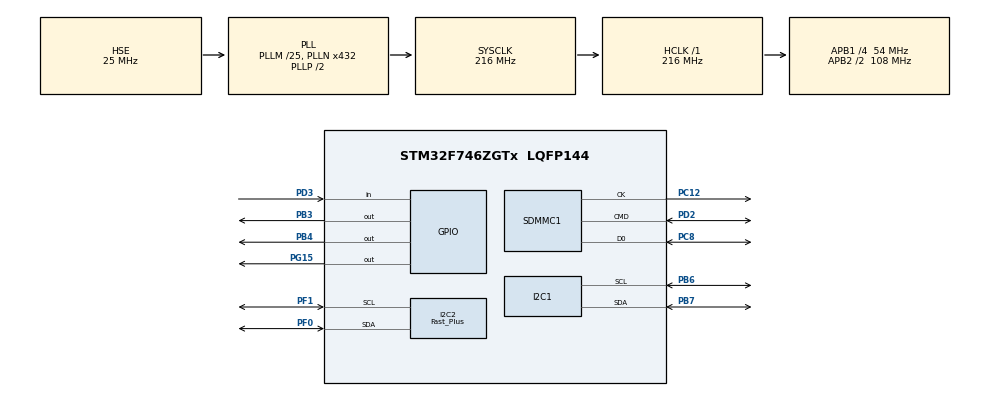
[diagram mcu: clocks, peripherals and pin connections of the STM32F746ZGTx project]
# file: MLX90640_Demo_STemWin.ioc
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CORTEX_M7.ART_ACCLERATOR_ENABLE=0
CORTEX_M7.CPU_DCache=Enabled
CORTEX_M7.CPU_ICache=Enabled
CORTEX_M7.PREFETCH_ENABLE=1
I2C1.Timing=0x20404768
I2C2.Analog_Filter=I2C_ANALOGFILTER_DISABLE
I2C2.I2C_Speed_Mode=I2C_Fast_Plus
I2C2.Timing=0x00200E22
Mcu.Family=STM32F7
Mcu.Name=STM32F746ZGTx
Mcu.Package=LQFP144
NVIC.PriorityGroup=NVIC_PRIORITYGROUP_4
NVIC.TIM3_IRQn=true\:0\:0\:false\:false\:true\:true\:true
PB3.Signal=GPIO_Output
PB4.Signal=GPIO_Output
PB6.Mode=I2C
PB6.Signal=I2C1_SCL
PB7.Mode=I2C
PB7.Signal=I2C1_SDA
PC12.Mode=SD_1_bit
PC12.Signal=SDMMC1_CK
PC8.Mode=SD_1_bit
PC8.Signal=SDMMC1_D0
PD2.Mode=SD_1_bit
PD2.Signal=SDMMC1_CMD
PD3.Signal=GPIO_Input
PF0.Mode=I2C
PF0.Signal=I2C2_SDA
PF1.Mode=I2C
PF1.Signal=I2C2_SCL
PG15.Signal=GPIO_Output
PH0/OSC_IN.Mode=HSE-External-Oscillator
PH0/OSC_IN.Signal=RCC_OSC_IN
PH1/OSC_OUT.Mode=HSE-External-Oscillator
PH1/OSC_OUT.Signal=RCC_OSC_OUT
ProjectManager.HeapSize=0x200
ProjectManager.StackSize=0x400
ProjectManager.TargetToolchain=STM32CubeIDE
RCC.AHBFreq_Value=216000000
RCC.APB1CLKDivider=RCC_HCLK_DIV4
RCC.APB1Freq_Value=54000000
RCC.APB1TimFreq_Value=108000000
RCC.APB2CLKDivider=RCC_HCLK_DIV2
RCC.APB2Freq_Value=108000000
RCC.APB2TimFreq_Value=216000000
RCC.CortexFreq_Value=216000000
RCC.HCLKFreq_Value=216000000
RCC.HSE_VALUE=25000000
RCC.HSI_VALUE=16000000
RCC.LSE_VALUE=32768
RCC.PLLM=25
RCC.PLLN=432
RCC.PLLQ=9
RCC.PLLSourceVirtual=RCC_PLLSOURCE_HSE
RCC.SDMMCClockSelection=RCC_SDMMC1CLKSOURCE_CLK48
RCC.SYSCLKFreq_VALUE=216000000
RCC.SYSCLKSource=RCC_SYSCLKSOURCE_PLLCLK
RCC.USBFreq_Value=48000000
RCC.VCOOutputFreq_Value=432000000
TIM3.AutoReloadPreload=TIM_AUTORELOAD_PRELOAD_ENABLE
TIM3.ClockDivision=TIM_CLOCKDIVISION_DIV4
TIM3.Period=1000
TIM3.Prescaler=27
VP_FATFS_VS_SDIO.Mode=SDIO
VP_TIM3_VS_ClockSourceINT.Mode=Internal
board=custom

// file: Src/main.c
/* USER CODE BEGIN Header */
/**
  ******************************************************************************
  * @file           : main.c
  * @brief          : Main program body
  ******************************************************************************
  * @attention
  *
  * <h2><center>&copy; Copyright (c) 2021 STMicroelectronics.
  * All rights reserved.</center></h2>
  *
  * This software component is licensed by ST under Ultimate Liberty license
  * SLA0044, the "License"; You may not use this file except in compliance with
  * the License. You may obtain a copy of the License at:
  *                             www.st.com/SLA0044
  *
  ******************************************************************************
  */
/* USER CODE END Header */

#include "main.h"
#include "fatfs.h"

/* USER CODE BEGIN Includes */
#include <string.h>
#include <stdio.h>
#include <stdint.h>
#include <stdbool.h>
//STemWin
#include "WM.h"
#include "GUI.h"
//Hardware
#include "SSD1963.h"
#include "STMPE610.h"
#include "MLX90640.h"

//Middleware
#include "MLX90640_API.h"
#include "bmp.h"
#include "img.h"
//Windows
#include "MainWindowDLG.h"
#include "SettingsDLG.h"
/* USER CODE END Includes */

I2C_HandleTypeDef hi2c1;
I2C_HandleTypeDef hi2c2;

SD_HandleTypeDef hsd1;

TIM_HandleTypeDef htim3;

/* USER CODE BEGIN PV */
#define MAIN 0
#define RUN_SETTINGS 1
#define SETTINGS 2
#define CANCEL 3
#define SAVE 4

#define TA_SHIFT 8
float mlx90640To[768];
uint16_t eeMLX90640[832];
paramsMLX90640 mlx90640;
uint16_t mlx90640Frame[834];
int status=0;

int keyPressed = 0;		// variable for ID of touched element
uint8_t menu=MAIN;
char value[5];
int val=0;

WM_HWIN hWin;
WM_HWIN hWin1;

FATFS myFAT;
FIL myFile;
FRESULT res;

UINT byteCount;

uint8_t capture=0;
/* Private variables ---------------------------------------------------------*/
/* USER CODE END PV */

void SystemClock_Config(void);
static void MX_GPIO_Init(void);
static void MX_I2C1_Init(void);
static void MX_SDMMC1_SD_Init(void);
static void MX_TIM3_Init(void);
static void MX_I2C2_Init(void);
/* USER CODE BEGIN PFP */
/* Private function prototypes -----------------------------------------------*/

extern volatile GUI_TIMER_TIME OS_TimeMS;
void HAL_SYSTICK_Callback(void)
{
	OS_TimeMS++;
}

/* USER CODE END PFP */

int main(void)
{

  /* Enable I-Cache---------------------------------------------------------*/
  SCB_EnableICache();

  /* Enable D-Cache---------------------------------------------------------*/
  SCB_EnableDCache();

  /* MCU Configuration--------------------------------------------------------*/

  /* Reset of all peripherals, Initializes the Flash interface and the Systick. */
  HAL_Init();

  /* Configure the system clock */
  SystemClock_Config();

  /* Initialize all configured peripherals */
  MX_GPIO_Init();
  MX_I2C1_Init();
  MX_SDMMC1_SD_Init();
  MX_FATFS_Init();
  MX_TIM3_Init();
  MX_I2C2_Init();
  /* USER CODE BEGIN 2 */

  //init GPIO
  Init_LCD_GPIO();
  Init_TOUCH_GPIO(hi2c1);
  Init_MLX90640_GPIO(hi2c2);

  hi2c2.Init.Timing = 0x00501E63; //FM !!! must be change if clk is changed
  HAL_I2C_Init(&hi2c2);

  MLX90640_SetRefreshRate(MLX90640_RATE_8HZ);
  MLX90640_SetResolution(MLX90640_RES16);
  MLX90640_SetPattern(MLX90640_CHESS);
  MLX90640_SetMode(MLX90640_DEFAULT);

  MLX90640_DumpEE(eeMLX90640);
  status = MLX90640_ExtractParameters(eeMLX90640, &mlx90640);

  HAL_Delay(10);

  //init GUI
  WM_SetCreateFlags(WM_CF_MEMDEV);
  GUI_Init();
  GUI_Clear();

  hWin = CreateMainWindow();
  invalidateLegend(hWin); //triggers legend drawing

  GUI_Exec(); //draw base screen

  hi2c2.Init.Timing = 0x00200E22; //FM+ !!! must be change if clk is changed
  HAL_I2C_Init(&hi2c2);
  HAL_Delay(10);

  //UNLINK PATH
  FATFS_UnLinkDriver(SDPath);
  HAL_Delay(10);

  HAL_TIM_Base_Start_IT(&htim3);
  /* USER CODE END 2 */

  /* Infinite loop */
  /* USER CODE BEGIN WHILE */

  while (1)
  {
	  STMPE610_read_xyz();

	  switch(menu)
	  {
			  case MAIN:
				  status = MLX90640_GetFrameData(mlx90640Frame);

				  float Ta = MLX90640_GetTa(mlx90640Frame, &mlx90640);
				  float tr = Ta - TA_SHIFT; //Reflected temperature based on the sensor ambient temperature
				  float emissivity = 0.95;
				  MLX90640_CalculateTo(mlx90640Frame, &mlx90640, emissivity, tr, mlx90640To);
				  MLX90640_BadPixelsCorrection((&mlx90640)->brokenPixels, mlx90640To, 0, &mlx90640);
				  MLX90640_BadPixelsCorrection((&mlx90640)->outlierPixels, mlx90640To, 0, &mlx90640);

				  int i,j,k=0;
				  float varMaxTempVal=0.0, varMinTempVal=300;
				  for(i=0; i<24; i++)
				  {
					  for(j=0; j<32; j++)
					  {
						  float tmp = mlx90640To[k];
						  if(tmp > varMaxTempVal)
							  varMaxTempVal = (tmp); //find max Temp pixel
						  if(tmp < varMinTempVal)
							  varMinTempVal = (tmp); //find maxTemp pixel
						  setImagePixel(j,i,tmp);
						  k++;
					  }
				  }

				  if(getAutoscale())
				  {
					  if(varMaxTempVal==varMinTempVal)varMaxTempVal+=1; // to avoid zero division
					  setMaxTemp(varMaxTempVal);
					  setMinTemp(varMinTempVal);
					  updateLabels(hWin, varMinTempVal, varMaxTempVal);
				  }

				  if(getInterpolate())interpolateBilinear(PX_X*INT_POINTS, PX_Y*INT_POINTS);
				  invalidateImage(hWin);	//triggers image drawing
				  break;
			  case RUN_SETTINGS:
				  hWin1 = CreateSettings();
				  SLIDER_SetValue(WM_GetDialogItem(hWin1, ID_SLIDER_0), getMinTemp());
				  SLIDER_SetValue(WM_GetDialogItem(hWin1, ID_SLIDER_1), getMaxTemp());
				  DROPDOWN_SetSel(WM_GetDialogItem(hWin1, ID_DROPDOWN_0), getColorMode());
				  menu=SETTINGS;
				  break;
			  case SETTINGS:
				   val=SPINBOX_GetValue(WM_GetDialogItem(hWin1, ID_SPINBOX_1));
				   SLIDER_SetValue(WM_GetDialogItem(hWin1, ID_SLIDER_1), val);
				   val=SPINBOX_GetValue(WM_GetDialogItem(hWin1, ID_SPINBOX_0));
				   SLIDER_SetValue(WM_GetDialogItem(hWin1, ID_SLIDER_0), val);
		  		  break;
			  case CANCEL:
				  WM_DeleteWindow(hWin1);
				  menu=MAIN;
				  break;
			  case SAVE:
				  if(CHECKBOX_IsChecked(WM_GetDialogItem(hWin1,ID_CHECKBOX_0))) setAutoscale(1);
				  else
				  {
			  		  setMinTemp(SLIDER_GetValue(WM_GetDialogItem(hWin1, ID_SLIDER_0)));
			  		  setMaxTemp(SLIDER_GetValue(WM_GetDialogItem(hWin1, ID_SLIDER_1)));
			  		  updateLabels(hWin, getMinTemp(), getMaxTemp());
			  		  setAutoscale(0);
				  }
				  setColorMode(DROPDOWN_GetSel(WM_GetDialogItem(hWin1, ID_DROPDOWN_0)));
				  if(CHECKBOX_IsChecked(WM_GetDialogItem(hWin1,ID_CHECKBOX_1))) setInterpolate(1);
				  else setInterpolate(0);
				  invalidateLegend(hWin);
				  WM_DeleteWindow(hWin1);
				  menu=MAIN;
				  break;

	}
  	GUI_Exec();
  	if(capture)
  	{
  		HAL_TIM_Base_Stop_IT(&htim3); //stop timer while writing to SD card
  		capture=0;
  		if(HAL_GPIO_ReadPin(GPIOD,GPIO_PIN_3)==GPIO_PIN_RESET)
  	    {
  			HAL_GPIO_WritePin(GPIOG, GPIO_PIN_15, GPIO_PIN_SET);
  			FATFS_LinkDriver(&SD_Driver, SDPath);
  			res=f_mount(&myFAT, SDPath, 1);
  			captureBMPImage();
  			f_mount(0, SDPath, 1);
  			FATFS_UnLinkDriver(SDPath);
  			HAL_GPIO_WritePin(GPIOG, GPIO_PIN_15, GPIO_PIN_RESET);
  	    }
  		HAL_TIM_Base_Start_IT(&htim3);//restart timer
  	}

    /* USER CODE END WHILE */

}
}

void SystemClock_Config(void)
{
  RCC_OscInitTypeDef RCC_OscInitStruct = {0};
  RCC_ClkInitTypeDef RCC_ClkInitStruct = {0};
  RCC_PeriphCLKInitTypeDef PeriphClkInitStruct = {0};

  /** Configure the main internal regulator output voltage
  */
  __HAL_RCC_PWR_CLK_ENABLE();
  __HAL_PWR_VOLTAGESCALING_CONFIG(PWR_REGULATOR_VOLTAGE_SCALE1);
  /** Initializes the CPU, AHB and APB busses clocks
  */
  RCC_OscInitStruct.OscillatorType = RCC_OSCILLATORTYPE_HSE;
  RCC_OscInitStruct.HSEState = RCC_HSE_ON;
  RCC_OscInitStruct.PLL.PLLState = RCC_PLL_ON;
  RCC_OscInitStruct.PLL.PLLSource = RCC_PLLSOURCE_HSE;
  RCC_OscInitStruct.PLL.PLLM = 25;
  RCC_OscInitStruct.PLL.PLLN = 432;
  RCC_OscInitStruct.PLL.PLLP = RCC_PLLP_DIV2;
  RCC_OscInitStruct.PLL.PLLQ = 9;
  if (HAL_RCC_OscConfig(&RCC_OscInitStruct) != HAL_OK)
  {
    Error_Handler();
  }
  /** Activate the Over-Drive mode
  */
  if (HAL_PWREx_EnableOverDrive() != HAL_OK)
  {
    Error_Handler();
  }
  /** Initializes the CPU, AHB and APB busses clocks
  */
  RCC_ClkInitStruct.ClockType = RCC_CLOCKTYPE_HCLK|RCC_CLOCKTYPE_SYSCLK
                              |RCC_CLOCKTYPE_PCLK1|RCC_CLOCKTYPE_PCLK2;
  RCC_ClkInitStruct.SYSCLKSource = RCC_SYSCLKSOURCE_PLLCLK;
  RCC_ClkInitStruct.AHBCLKDivider = RCC_SYSCLK_DIV1;
  RCC_ClkInitStruct.APB1CLKDivider = RCC_HCLK_DIV4;
  RCC_ClkInitStruct.APB2CLKDivider = RCC_HCLK_DIV2;

  if (HAL_RCC_ClockConfig(&RCC_ClkInitStruct, FLASH_LATENCY_7) != HAL_OK)
  {
    Error_Handler();
  }
  PeriphClkInitStruct.PeriphClockSelection = RCC_PERIPHCLK_I2C1|RCC_PERIPHCLK_I2C2
                              |RCC_PERIPHCLK_SDMMC1|RCC_PERIPHCLK_CLK48;
  PeriphClkInitStruct.I2c1ClockSelection = RCC_I2C1CLKSOURCE_PCLK1;
  PeriphClkInitStruct.I2c2ClockSelection = RCC_I2C2CLKSOURCE_PCLK1;
  PeriphClkInitStruct.Clk48ClockSelection = RCC_CLK48SOURCE_PLL;
  PeriphClkInitStruct.Sdmmc1ClockSelection = RCC_SDMMC1CLKSOURCE_CLK48;
  if (HAL_RCCEx_PeriphCLKConfig(&PeriphClkInitStruct) != HAL_OK)
  {
    Error_Handler();
  }
}

static void MX_I2C1_Init(void)
{

  hi2c1.Instance = I2C1;
  hi2c1.Init.Timing = 0x20404768;
  hi2c1.Init.OwnAddress1 = 0;
  hi2c1.Init.AddressingMode = I2C_ADDRESSINGMODE_7BIT;
  hi2c1.Init.DualAddressMode = I2C_DUALADDRESS_DISABLE;
  hi2c1.Init.OwnAddress2 = 0;
  hi2c1.Init.OwnAddress2Masks = I2C_OA2_NOMASK;
  hi2c1.Init.GeneralCallMode = I2C_GENERALCALL_DISABLE;
  hi2c1.Init.NoStretchMode = I2C_NOSTRETCH_DISABLE;
  if (HAL_I2C_Init(&hi2c1) != HAL_OK)
  {
    Error_Handler();
  }
  /** Configure Analogue filter
  */
  if (HAL_I2CEx_ConfigAnalogFilter(&hi2c1, I2C_ANALOGFILTER_ENABLE) != HAL_OK)
  {
    Error_Handler();
  }
  /** Configure Digital filter
  */
  if (HAL_I2CEx_ConfigDigitalFilter(&hi2c1, 0) != HAL_OK)
  {
    Error_Handler();
  }

}

static void MX_I2C2_Init(void)
{

  hi2c2.Instance = I2C2;
  hi2c2.Init.Timing = 0x00200E22;
  hi2c2.Init.OwnAddress1 = 0;
  hi2c2.Init.AddressingMode = I2C_ADDRESSINGMODE_7BIT;
  hi2c2.Init.DualAddressMode = I2C_DUALADDRESS_DISABLE;
  hi2c2.Init.OwnAddress2 = 0;
  hi2c2.Init.OwnAddress2Masks = I2C_OA2_NOMASK;
  hi2c2.Init.GeneralCallMode = I2C_GENERALCALL_DISABLE;
  hi2c2.Init.NoStretchMode = I2C_NOSTRETCH_DISABLE;
  if (HAL_I2C_Init(&hi2c2) != HAL_OK)
  {
    Error_Handler();
  }
  /** Configure Analogue filter
  */
  if (HAL_I2CEx_ConfigAnalogFilter(&hi2c2, I2C_ANALOGFILTER_DISABLE) != HAL_OK)
  {
    Error_Handler();
  }
  /** Configure Digital filter
  */
  if (HAL_I2CEx_ConfigDigitalFilter(&hi2c2, 0) != HAL_OK)
  {
    Error_Handler();
  }
  /** I2C Enable Fast Mode Plus
  */
  HAL_I2CEx_EnableFastModePlus(I2C_FASTMODEPLUS_I2C2);

}

static void MX_SDMMC1_SD_Init(void)
{

  hsd1.Instance = SDMMC1;
  hsd1.Init.ClockEdge = SDMMC_CLOCK_EDGE_RISING;
  hsd1.Init.ClockBypass = SDMMC_CLOCK_BYPASS_DISABLE;
  hsd1.Init.ClockPowerSave = SDMMC_CLOCK_POWER_SAVE_DISABLE;
  hsd1.Init.BusWide = SDMMC_BUS_WIDE_1B;
  hsd1.Init.HardwareFlowControl = SDMMC_HARDWARE_FLOW_CONTROL_DISABLE;
  hsd1.Init.ClockDiv = 0;

}

static void MX_TIM3_Init(void)
{

  TIM_ClockConfigTypeDef sClockSourceConfig = {0};
  TIM_MasterConfigTypeDef sMasterConfig = {0};

  htim3.Instance = TIM3;
  htim3.Init.Prescaler = 27;
  htim3.Init.CounterMode = TIM_COUNTERMODE_UP;
  htim3.Init.Period = 1000;
  htim3.Init.ClockDivision = TIM_CLOCKDIVISION_DIV4;
  htim3.Init.AutoReloadPreload = TIM_AUTORELOAD_PRELOAD_ENABLE;
  if (HAL_TIM_Base_Init(&htim3) != HAL_OK)
  {
    Error_Handler();
  }
  sClockSourceConfig.ClockSource = TIM_CLOCKSOURCE_INTERNAL;
  if (HAL_TIM_ConfigClockSource(&htim3, &sClockSourceConfig) != HAL_OK)
  {
    Error_Handler();
  }
  sMasterConfig.MasterOutputTrigger = TIM_TRGO_RESET;
  sMasterConfig.MasterSlaveMode = TIM_MASTERSLAVEMODE_DISABLE;
  if (HAL_TIMEx_MasterConfigSynchronization(&htim3, &sMasterConfig) != HAL_OK)
  {
    Error_Handler();
  }

}

static void MX_GPIO_Init(void)
{
  GPIO_InitTypeDef GPIO_InitStruct = {0};

  /* GPIO Ports Clock Enable */
  __HAL_RCC_GPIOF_CLK_ENABLE();
  __HAL_RCC_GPIOH_CLK_ENABLE();
  __HAL_RCC_GPIOC_CLK_ENABLE();
  __HAL_RCC_GPIOD_CLK_ENABLE();
  __HAL_RCC_GPIOG_CLK_ENABLE();
  __HAL_RCC_GPIOB_CLK_ENABLE();

  /*Configure GPIO pin Output Level */
  HAL_GPIO_WritePin(GPIOG, GPIO_PIN_15, GPIO_PIN_RESET);

  /*Configure GPIO pin Output Level */
  HAL_GPIO_WritePin(GPIOB, GPIO_PIN_3|GPIO_PIN_4, GPIO_PIN_RESET);

  /*Configure GPIO pin : PD3 */
  GPIO_InitStruct.Pin = GPIO_PIN_3;
  GPIO_InitStruct.Mode = GPIO_MODE_INPUT;
  GPIO_InitStruct.Pull = GPIO_NOPULL;
  HAL_GPIO_Init(GPIOD, &GPIO_InitStruct);

  /*Configure GPIO pin : PG15 */
  GPIO_InitStruct.Pin = GPIO_PIN_15;
  GPIO_InitStruct.Mode = GPIO_MODE_OUTPUT_PP;
  GPIO_InitStruct.Pull = GPIO_NOPULL;
  GPIO_InitStruct.Speed = GPIO_SPEED_FREQ_LOW;
  HAL_GPIO_Init(GPIOG, &GPIO_InitStruct);

  /*Configure GPIO pins : PB3 PB4 */
  GPIO_InitStruct.Pin = GPIO_PIN_3|GPIO_PIN_4;
  GPIO_InitStruct.Mode = GPIO_MODE_OUTPUT_PP;
  GPIO_InitStruct.Pull = GPIO_NOPULL;
  GPIO_InitStruct.Speed = GPIO_SPEED_FREQ_LOW;
  HAL_GPIO_Init(GPIOB, &GPIO_InitStruct);

}

/* USER CODE BEGIN 4 */
void HAL_TIM_PeriodElapsedCallback(TIM_HandleTypeDef *htim)
{
	GUI_TOUCH_Exec();
	keyPressed = GUI_GetKey();  //get touched element

	if((keyPressed == ID_BUTTON_2)&&(menu==MAIN))
		menu=RUN_SETTINGS;
	else if((keyPressed == ID_BUTTON_0)&&(menu==SETTINGS))
		menu=CANCEL;
	else if((keyPressed == ID_BUTTON_1)&&(menu==SETTINGS))
		menu=SAVE;
	if((keyPressed == ID_BUTTON_3)&&(menu==MAIN))
		capture=1;

}

/* USER CODE END 4 */

void Error_Handler(void)
{
  while(1)
  {
  }
}

/************************ (C) COPYRIGHT STMicroelectronics *****END OF FILE****/
